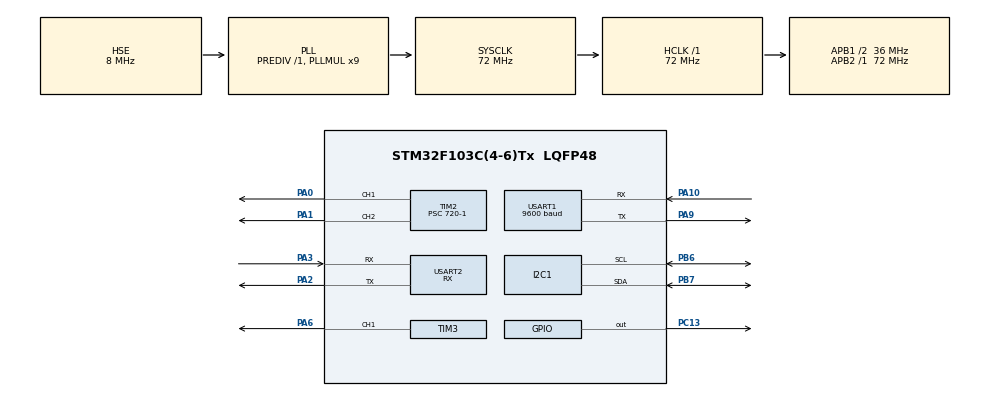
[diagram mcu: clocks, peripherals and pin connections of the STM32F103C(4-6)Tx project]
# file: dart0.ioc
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FREERTOS.Tasks01=defaultTask,0,64,StartDefaultTask,Default,NULL,Dynamic,NULL,NULL;ducted_motor,-3,64,ducted_motor_control,Default,NULL,Dynamic,NULL,NULL;gyroscope,-3,64,gyroscope_read,Default,NULL,Dynamic,NULL,NULL;servo_motor,-3,64,servo_motor_control,Default,NULL,Dynamic,NULL,NULL;connecter,-3,64,connect_read,Default,NULL,Dynamic,NULL,NULL;counter,-3,128,counter_func,Default,NULL,Dynamic,NULL,NULL;To_openMV,-3,64,To_openMV_func,Default,NULL,Dynamic,NULL,NULL
FREERTOS.configMINIMAL_STACK_SIZE=64
FREERTOS.configTOTAL_HEAP_SIZE=3072
I2C1.I2C_Mode=I2C_Fast
Mcu.Family=STM32F1
Mcu.Name=STM32F103C(4-6)Tx
Mcu.Package=LQFP48
NVIC.PriorityGroup=NVIC_PRIORITYGROUP_4
NVIC.TIM1_UP_IRQn=true\:15\:0\:false\:false\:true\:false\:false\:true\:true
NVIC.TimeBase=TIM1_UP_IRQn
NVIC.TimeBaseIP=TIM1
PA0-WKUP.Signal=S_TIM2_CH1_ETR
PA1.Signal=S_TIM2_CH2
PA10.Mode=Asynchronous
PA10.Signal=USART1_RX
PA13.Mode=Serial_Wire
PA13.Signal=SYS_JTMS-SWDIO
PA14.Mode=Serial_Wire
PA14.Signal=SYS_JTCK-SWCLK
PA2.Mode=Asynchronous
PA2.Signal=USART2_TX
PA3.Mode=Asynchronous
PA3.Signal=USART2_RX
PA6.Signal=S_TIM3_CH1
PA9.Mode=Asynchronous
PA9.Signal=USART1_TX
PB6.Mode=I2C
PB6.Signal=I2C1_SCL
PB7.Mode=I2C
PB7.Signal=I2C1_SDA
PC13-TAMPER-RTC.PinState=GPIO_PIN_SET
PC13-TAMPER-RTC.Signal=GPIO_Output
PD0-OSC_IN.Mode=HSE-External-Oscillator
PD0-OSC_IN.Signal=RCC_OSC_IN
PD1-OSC_OUT.Mode=HSE-External-Oscillator
PD1-OSC_OUT.Signal=RCC_OSC_OUT
ProjectManager.HeapSize=0x200
ProjectManager.StackSize=0x400
ProjectManager.TargetToolchain=MDK-ARM V5.32
RCC.AHBFreq_Value=72000000
RCC.APB1CLKDivider=RCC_HCLK_DIV2
RCC.APB1Freq_Value=36000000
RCC.APB1TimFreq_Value=72000000
RCC.APB2Freq_Value=72000000
RCC.APB2TimFreq_Value=72000000
RCC.HCLKFreq_Value=72000000
RCC.PLLMUL=RCC_PLL_MUL9
RCC.PLLSourceVirtual=RCC_PLLSOURCE_HSE
RCC.SYSCLKFreq_VALUE=72000000
RCC.SYSCLKSource=RCC_SYSCLKSOURCE_PLLCLK
RCC.USBFreq_Value=72000000
SH.S_TIM2_CH1_ETR.0=TIM2_CH1,PWM Generation1 CH1
SH.S_TIM2_CH2.0=TIM2_CH2,PWM Generation2 CH2
SH.S_TIM3_CH1.0=TIM3_CH1,PWM Generation1 CH1
TIM2.AutoReloadPreload=TIM_AUTORELOAD_PRELOAD_ENABLE
TIM2.Channel-PWM\ Generation1\ CH1=TIM_CHANNEL_1
TIM2.Channel-PWM\ Generation2\ CH2=TIM_CHANNEL_2
TIM2.Period=2000-1
TIM2.Prescaler=720-1
TIM3.AutoReloadPreload=TIM_AUTORELOAD_PRELOAD_ENABLE
TIM3.Channel-PWM\ Generation1\ CH1=TIM_CHANNEL_1
TIM3.Period=1000-1
TIM3.Prescaler=72-1
USART1.BaudRate=9600
USART1.VirtualMode=VM_ASYNC
USART2.Mode=MODE_RX
USART2.VirtualMode=VM_ASYNC
VP_FREERTOS_VS_CMSIS_V1.Mode=CMSIS_V1
VP_SYS_VS_tim1.Mode=TIM1
VP_TIM2_VS_ClockSourceINT.Mode=Internal
VP_TIM3_VS_ClockSourceINT.Mode=Internal
board=custom

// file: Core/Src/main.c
/* USER CODE BEGIN Header */
/**
  ******************************************************************************
  * @file           : main.c
  * @brief          : Main program body
  ******************************************************************************
  * @attention
  *
  * Copyright (c) 2024 STMicroelectronics.
  * All rights reserved.
  *
  * This software is licensed under terms that can be found in the LICENSE file
  * in the root directory of this software component.
  * If no LICENSE file comes with this software, it is provided AS-IS.
  *
  ******************************************************************************
  */
/* USER CODE END Header */
#include "main.h"
#include "cmsis_os.h"
#include "i2c.h"
#include "tim.h"
#include "usart.h"
#include "gpio.h"

/* USER CODE BEGIN Includes */
#include "stdio.h"
#include "IIC.h"
#include "mpu6050.h"
#include "inv_mpu.h"
#include "inv_mpu_dmp_motion_driver.h"
#include "dmp_self.h"

/* USER CODE END Includes */

/* USER CODE BEGIN PV */

/*
static PID mypid;
static float feedbackValue , targetValue;
*/
/* USER CODE END PV */

void SystemClock_Config(void);
void MX_FREERTOS_Init(void);

int main(void)
{

  /* MCU Configuration--------------------------------------------------------*/

  /* Reset of all peripherals, Initializes the Flash interface and the Systick. */
  HAL_Init();

  /* USER CODE BEGIN Init */

  //PID_Init( &mypid , 10 , 1 , 5 , 800 , 1000 );
  /* USER CODE END Init */

  /* Configure the system clock */
  SystemClock_Config();

  /* Initialize all configured peripherals */
  MX_GPIO_Init();
  MX_I2C1_Init();
  MX_TIM2_Init();
  MX_TIM3_Init();
  MX_USART1_UART_Init();
  MX_USART2_UART_Init();
  /* USER CODE BEGIN 2 */

  MPU_Init();
  mpu_dmp_init();

  HAL_TIM_PWM_Start(&htim2,TIM_CHANNEL_1);
  HAL_TIM_PWM_Start(&htim2,TIM_CHANNEL_2);
  HAL_TIM_PWM_Start(&htim3,TIM_CHANNEL_1);
  /*
  while( 1 ){
    HAL_GPIO_WritePin(GPIOC,GPIO_PIN_13,GPIO_PIN_RESET);
        HAL_Delay(200);
        HAL_GPIO_WritePin(GPIOC,GPIO_PIN_13,GPIO_PIN_SET);
        HAL_Delay(200);
  }	*/
  /*
  while( MPU_Init() != 0 ){
    HAL_GPIO_WritePin(GPIOC,GPIO_PIN_13,GPIO_PIN_RESET);
        HAL_Delay(200);
        HAL_GPIO_WritePin(GPIOC,GPIO_PIN_13,GPIO_PIN_SET);
        HAL_Delay(200);
  }			//MPU6050初始化
  while( mpu_dmp_init() != 0 ){
    HAL_GPIO_WritePin(GPIOC,GPIO_PIN_13,GPIO_PIN_RESET);
        HAL_Delay(200);
        HAL_GPIO_WritePin(GPIOC,GPIO_PIN_13,GPIO_PIN_SET);
        HAL_Delay(200);
  }		//dmp初始化
  */

  /* USER CODE END 2 */

  /* Call init function for freertos objects (in freertos.c) */
  MX_FREERTOS_Init();

  /* Start scheduler */
  osKernelStart();

  /* We should never get here as control is now taken by the scheduler */
  /* Infinite loop */
  while (1)
  {

  }
}

void SystemClock_Config(void)
{
  RCC_OscInitTypeDef RCC_OscInitStruct = {0};
  RCC_ClkInitTypeDef RCC_ClkInitStruct = {0};

  /** Initializes the RCC Oscillators according to the specified parameters
  * in the RCC_OscInitTypeDef structure.
  */
  RCC_OscInitStruct.OscillatorType = RCC_OSCILLATORTYPE_HSE;
  RCC_OscInitStruct.HSEState = RCC_HSE_ON;
  RCC_OscInitStruct.HSEPredivValue = RCC_HSE_PREDIV_DIV1;
  RCC_OscInitStruct.HSIState = RCC_HSI_ON;
  RCC_OscInitStruct.PLL.PLLState = RCC_PLL_ON;
  RCC_OscInitStruct.PLL.PLLSource = RCC_PLLSOURCE_HSE;
  RCC_OscInitStruct.PLL.PLLMUL = RCC_PLL_MUL9;
  if (HAL_RCC_OscConfig(&RCC_OscInitStruct) != HAL_OK)
  {
    Error_Handler();
  }

  /** Initializes the CPU, AHB and APB buses clocks
  */
  RCC_ClkInitStruct.ClockType = RCC_CLOCKTYPE_HCLK|RCC_CLOCKTYPE_SYSCLK
                              |RCC_CLOCKTYPE_PCLK1|RCC_CLOCKTYPE_PCLK2;
  RCC_ClkInitStruct.SYSCLKSource = RCC_SYSCLKSOURCE_PLLCLK;
  RCC_ClkInitStruct.AHBCLKDivider = RCC_SYSCLK_DIV1;
  RCC_ClkInitStruct.APB1CLKDivider = RCC_HCLK_DIV2;
  RCC_ClkInitStruct.APB2CLKDivider = RCC_HCLK_DIV1;

  if (HAL_RCC_ClockConfig(&RCC_ClkInitStruct, FLASH_LATENCY_2) != HAL_OK)
  {
    Error_Handler();
  }
}

void HAL_TIM_PeriodElapsedCallback(TIM_HandleTypeDef *htim)
{
  if (htim->Instance == TIM1) {
    HAL_IncTick();
  }
}

void Error_Handler(void)
{
  __disable_irq();
  while (1)
  {
  }
}

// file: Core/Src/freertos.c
/* USER CODE BEGIN Header */
/**
  ******************************************************************************
  * File Name          : freertos.c
  * Description        : Code for freertos applications
  ******************************************************************************
  * @attention
  *
  * Copyright (c) 2024 STMicroelectronics.
  * All rights reserved.
  *
  * This software is licensed under terms that can be found in the LICENSE file
  * in the root directory of this software component.
  * If no LICENSE file comes with this software, it is provided AS-IS.
  *
  ******************************************************************************
  */
/* USER CODE END Header */

#include "FreeRTOS.h"
#include "task.h"
#include "main.h"
#include "cmsis_os.h"

/* USER CODE BEGIN Includes */
#include "tim.h"
#include "IIC.h"
#include "mpu6050.h"
#include "inv_mpu.h"
#include "inv_mpu_dmp_motion_driver.h"
#include "usart.h"
#include <math.h>
#include "dmp_self.h"
#include "pid.h"

/* USER CODE END Includes */

/* USER CODE BEGIN Variables */

// 定义加速度计和陀螺仪的量程范围
#define ACCEL_RANGE 16.0f    // 加速度计量程 ±16g
#define GYRO_RANGE  2000.0f  // 陀螺仪量程 ±2000°/s
#define G_TO_MS2    9.80665f // g 转换为 m/s2

#ifndef M_PI
#define M_PI 3.14159265358979323846
#endif

static uint8_t surve_left , surve_right;//舵机数据的pwm，范围50-250
static uint32_t ducked;//涵道电机的pwm，范围500-1000
static uint8_t receiveData[20];//串口一收到的数据（来源于蓝牙串口）
static uint8_t mesg[32];//串口二收到的数据（来源于视觉）
static uint8_t x , y;//解包出来的视觉坐标（x最大160，y最大120）
static uint32_t pwmVal = 500;//输出于涵道电机（现阶段正在使用的，仅在测试阶段）
static uint8_t state;//模式（见README）
static uint8_t slb , srb;

/* USER CODE END Variables */
osThreadId defaultTaskHandle;
osThreadId ducted_motorHandle;
osThreadId gyroscopeHandle;
osThreadId servo_motorHandle;
osThreadId connecterHandle;
osThreadId counterHandle;
osThreadId To_openMVHandle;

void StartDefaultTask(void const * argument);
void ducted_motor_control(void const * argument);
void gyroscope_read(void const * argument);
void servo_motor_control(void const * argument);
void connect_read(void const * argument);
void counter_func(void const * argument);
void To_openMV_func(void const * argument);

void MX_FREERTOS_Init(void); /* (MISRA C 2004 rule 8.1) */

/* GetIdleTaskMemory prototype (linked to static allocation support) */
void vApplicationGetIdleTaskMemory( StaticTask_t **ppxIdleTaskTCBBuffer, StackType_t **ppxIdleTaskStackBuffer, uint32_t *pulIdleTaskStackSize );

/* USER CODE BEGIN GET_IDLE_TASK_MEMORY */
static StaticTask_t xIdleTaskTCBBuffer;
static StackType_t xIdleStack[configMINIMAL_STACK_SIZE];

void vApplicationGetIdleTaskMemory( StaticTask_t **ppxIdleTaskTCBBuffer, StackType_t **ppxIdleTaskStackBuffer, uint32_t *pulIdleTaskStackSize )
{
  *ppxIdleTaskTCBBuffer = &xIdleTaskTCBBuffer;
  *ppxIdleTaskStackBuffer = &xIdleStack[0];
  *pulIdleTaskStackSize = configMINIMAL_STACK_SIZE;
  /* place for user code */
}
/* USER CODE END GET_IDLE_TASK_MEMORY */

void MX_FREERTOS_Init(void) {

  /* Create the thread(s) */
  /* definition and creation of defaultTask */
  osThreadDef(defaultTask, StartDefaultTask, osPriorityNormal, 0, 64);
  defaultTaskHandle = osThreadCreate(osThread(defaultTask), NULL);

  /* definition and creation of ducted_motor */
  osThreadDef(ducted_motor, ducted_motor_control, osPriorityIdle, 0, 64);
  ducted_motorHandle = osThreadCreate(osThread(ducted_motor), NULL);

  /* definition and creation of gyroscope */
  osThreadDef(gyroscope, gyroscope_read, osPriorityIdle, 0, 64);
  gyroscopeHandle = osThreadCreate(osThread(gyroscope), NULL);

  /* definition and creation of servo_motor */
  osThreadDef(servo_motor, servo_motor_control, osPriorityIdle, 0, 64);
  servo_motorHandle = osThreadCreate(osThread(servo_motor), NULL);

  /* definition and creation of connecter */
  osThreadDef(connecter, connect_read, osPriorityIdle, 0, 64);
  connecterHandle = osThreadCreate(osThread(connecter), NULL);

  /* definition and creation of counter */
  osThreadDef(counter, counter_func, osPriorityIdle, 0, 128);
  counterHandle = osThreadCreate(osThread(counter), NULL);

  /* definition and creation of To_openMV */
  osThreadDef(To_openMV, To_openMV_func, osPriorityIdle, 0, 64);
  To_openMVHandle = osThreadCreate(osThread(To_openMV), NULL);

}

void StartDefaultTask(void const * argument)
{
  for(;;)
  {
    osDelay(1);
  }
}

/* USER CODE BEGIN Header_ducted_motor_control */
/**
* @brief Function implementing the ducted_motor thread.
* @param argument: Not used
* @retval None
*/
void delay(unsigned int k)
{
  static int i,j;
  for(i=0;i<k;i++)
  {
    for(j=0;j<121;j++);
  }
}
/* USER CODE END Header_ducted_motor_control */
void ducted_motor_control(void const * argument)
{
  /* USER CODE BEGIN ducted_motor_control */
  //HAL_TIM_PWM_Start(&htim3,TIM_CHANNEL_1);
  pwmVal=600;
  ducked = pwmVal;
  /*
  __HAL_TIM_SetCompare(&htim3, TIM_CHANNEL_1, 600 );
  HAL_Delay( 10000 );
  __HAL_TIM_SetCompare(&htim3, TIM_CHANNEL_1, 500 );
  HAL_Delay( 2000 );*/
  /* Infinite loop */
  while( 1 )
  {
    /*
    if(pwmVal<700)
    {
      pwmVal ++;
    }
    else{
      pwmVal=500;
    }*/
    __HAL_TIM_SetCompare(&htim3, TIM_CHANNEL_1, pwmVal );
//    __HAL_TIM_SetCompare(&htim3, TIM_CHANNEL_1, ducked );
    HAL_Delay(1);
    //osDelay(1);
  }
  /* USER CODE END ducted_motor_control */
}

void gyroscope_read(void const * argument)
{
  /* USER CODE BEGIN gyroscope_read */
  /* Infinite loop */
  //如果debug中不显示，需要开一下断点
  //现在dmp不能稳定接收
  surve_left = surve_right = 200;
  surve_left = surve_right = 100;

  for(;;)
  {
    static uint8_t a = 2 , b = 2;
    a = MPU_Get_Gyroscope(&gyrox,&gyroy,&gyroz);
    b = MPU_Get_Accelerometer(&aacx,&aacy,&aacz);
    if( a || b ){//如果没读到信息，那就初始化一下下
      MPU_Init();
    }
    calculate_angles();
    HAL_Delay(20);
    //delay( 2000 );//自定义函数，相当于40ms
    //osDelay(1);
  }
  /* USER CODE END gyroscope_read */
}

/* USER CODE BEGIN Header_servo_motor_control */
/**
* @brief Function implementing the servo_motor thread.
* @param argument: Not used
* @retval None
*/
PID survePID;
/* USER CODE END Header_servo_motor_control */
void servo_motor_control(void const * argument)
{
  /* USER CODE BEGIN servo_motor_control */
  /*
  PID survePID_left;
  PID survePID_right;
  float left_output, right_output;
  PID_Init(&survePID_left, 10, 0.01, 0.01, 100, 100);
  PID_Init(&survePID_right, 10, 0.01, 0.01, 100, 100);*/
  /* Infinite loop */
  for(;;)
  {
    // 假设您有左、右的反馈值feedback_left和feedback_right
    /*
    PID_Calc(&survePID_left, surve_left, slb);
    PID_Calc(&survePID_right, surve_right, srb);

    left_output = survePID_left.output;
    right_output = survePID_right.output;

    __HAL_TIM_SET_COMPARE(&htim2, TIM_CHANNEL_1, (uint8_t)(left_output));
    __HAL_TIM_SET_COMPARE(&htim2, TIM_CHANNEL_2, (uint8_t)(right_output));
    slb = left_output , srb = right_output;*/

    __HAL_TIM_SET_COMPARE(&htim2, TIM_CHANNEL_1, surve_left );
    __HAL_TIM_SET_COMPARE(&htim2, TIM_CHANNEL_2, surve_right);
    osDelay(1);
  }
  /* USER CODE END servo_motor_control */
}

void connect_read(void const * argument)
{
  /* USER CODE BEGIN connect_read */
  /* Infinite loop */
  for(;;)
  {
    HAL_UART_Receive(&huart1,receiveData,5,100);
    if( receiveData[0] == 'r' ){
      state = 1;
    }else if( receiveData[0] == 'R' ){
      state = 2;
    }else if( receiveData[0] == 'm' ){
      state = 3;
    }else if( receiveData[0] == 'g' ){
      state = 4;
    }else{
      state = 0;
    }
    osDelay(1);
  }
  /* USER CODE END connect_read */
}

/* USER CODE BEGIN Header_counter_func */
/**
* @brief Function implementing the counter thread.
* @param argument: Not used
* @retval None
*/
void checker_forge( int num ){
  surve_left = num + 150;
  surve_right = num + 150;
  HAL_Delay(500);
  return ;
}
void checker(){

  checker_forge( 90 );
  checker_forge(-90 );

  checker_forge( 60 );
  checker_forge(-60 );

  checker_forge( 30 );
  checker_forge(-30 );
/*
  for(int i = -90;i <= 90;i ++){
    checker_forge( i );
  }*/
  receiveData[0] = 'R';
  state = 2;
  ducked = 500;
  return ;
}

float Kp_pitch = 0.5 , Ki_pitch = 0.1 , Kd_pitch = 0.2;
float Kp_yaw = 0.5 , Ki_yaw = 0.1 , Kd_yaw = 0.2;
float k_alpha = 0.1; //机翼角度系数
float K_T = 50.0; //基础推力
float K_y = 0.05; //垂直补偿增益

float f = 1000.0; //摄像头焦距（假设值）

// 计算反正切 atan(x) 的近似值（基于有理函数逼近）
float my_atan(float x) {
    if (x < 0) {
        return -my_atan(-x);  // 利用奇函数特性处理负数
    }
    if (x > 1.0) {
        return 1.570795 - my_atan(1.0 / x);  // 利用 atan(x) = π/2 - atan(1/x) 处理 x > 1
    }

    // 在 [0, 1] 区间内使用多项式近似
    // 系数来源: 《Numerical Recipes in C》优化公式
    const float a1 = 0.99997726;
    const float a3 = -0.33262347;
    const float a5 = 0.19354346;
    const float a7 = -0.11643287;
    const float a9 = 0.05265332;
    const float a11 = -0.01172120;

    float x_sq = x * x;
    float numerator = x * (a1 + x_sq * (a3 + x_sq * (a5 + x_sq * (a7 + x_sq * (a9 + x_sq * a11)))));
    return numerator;
}

/* USER CODE END Header_counter_func */
void counter_func(void const * argument)
{
  /* USER CODE BEGIN counter_func */
  /* Infinite loop */
  static float derta_pitch , derta_yaw , derta_roll;
  static uint8_t left , right;//范围±90，单位为度，控制舵机角度
  static uint8_t mid;//范围0-500，
  static uint8_t tempp;
  state = 3;//初始化状态值，默认为静默模式

  while( pitch < 0.00001 && pitch > -0.00001 );//读不到数据就不开始
  for(;;)
  {
    //初始值
    left = right = 0;
    mid = 0;
    //初始化目标坐标
    derta_pitch = pitch;
    derta_yaw = yaw;
    derta_roll = roll;

    if( state == 1 ){//校准模式
      checker();
      left = right = 0;
    }else if( state == 2 ){//静默模式，完成后自动转化到静默模式
      left = right = 0;
    }else if( state == 3 ){//纯视觉模式
      derta_roll = (x-40)*2;
      derta_pitch = (y-30)*2;
      left = derta_pitch*2+derta_roll*0.8;
      right = derta_pitch*2+derta_roll*0.8;
    }
    else if( state == 4 ){//纯陀螺仪模式
      //初版划分权重3:2:1
      tempp = 30;
      if( derta_roll > 0 ){//roll轴最重要，我觉得
        left += tempp , right -= tempp;//初版直接拉满，然后随便分配一下~
      }else{
        left -= tempp , right += tempp;
      }
      tempp = 20;
      if( derta_pitch > 0 ){//pitch其次重要，我觉得
        left += tempp , right -= tempp;
      }else{
        left -= tempp , right += tempp;
      }
      tempp = 10;
      if( derta_yaw > 0 ){//yaw也挺重要的，我觉得
        left += tempp , right -= tempp;
      }else{
        left -= tempp , right += tempp;
      }
      mid = 100;//不知道给多少，先给一点吧~
    }else{//默认模式（混合模式）
    //计算目标角度偏差
      float delta_psi = my_atan(x / f);//这个还要细调
      float delta_theta = my_atan(y / f);

    //PID计算力矩（简化版，无积分项）
      float tau_theta = Kp_pitch * (delta_theta - pitch) - Kd_pitch * gyroy;
      float tau_psi = Kp_yaw * (delta_psi - yaw) - Kd_yaw * gyroz;

    //机翼角度计算
      float alpha_L = k_alpha * (tau_theta + tau_psi);
      float alpha_R = k_alpha * (tau_theta - tau_psi);

    //推力计算（假设目标在y轴正方向需增加推力）
      float thrust = K_T * (1 + K_y * y);
      left = (int)(alpha_L) , right = (int)(alpha_R);
      mid = (int)(thrust);
    }
    //将-90°-+90°映射到60-240之间（舵机）
    surve_left = left + 150;
    surve_right = right + 150;

    //将0-100映射到500-800之间（涵道）
    ducked = mid*3 + 500;

    osDelay(1);
  }
  /* USER CODE END counter_func */
}

/* USER CODE BEGIN Header_To_openMV_func */
/**
* @brief Function implementing the To_openMV thread.
* @param argument: Not used
* @retval None
*/
uint8_t x_temp , y_temp , check_temp;
/* USER CODE END Header_To_openMV_func */
void To_openMV_func(void const * argument)
{
  /* USER CODE BEGIN To_openMV_func */
  receiveData[0] = 'm';
  /* Infinite loop */
  for(;;)
  {
    if( state == 3 ){

      HAL_UART_Receive(&huart2,mesg,12,HAL_MAX_DELAY);

      for(int i = 0;i < 10;i ++){
        x_temp = (int)( mesg[i] ) , y_temp = (int)( mesg[i+1] ) , check_temp = (int)( mesg[i+2] );
        if( (x_temp+y_temp)%121==check_temp ){
          x = (int)( mesg[i+0] );
          y = (int)( mesg[i+1] );
          break;
        }
      }
        /*
        xx = (mesg[starti+0]-'0')*16 + (mesg[starti+1]-'0');
        yy = (mesg[starti+2]-'0')*16 + (mesg[starti+3]-'0');
        x = xx , y = yy;*/

      //mesg[0] = mesg[1] = mesg[2] = mesg[3] = mesg[4] = mesg[5] = mesg[6] = mesg[7] = mesg[8] = mesg[9] = mesg[10] = mesg[11] = mesg[12] = mesg[13] = 0;

    }
    osDelay(1);
  }
  /* USER CODE END To_openMV_func */
}
